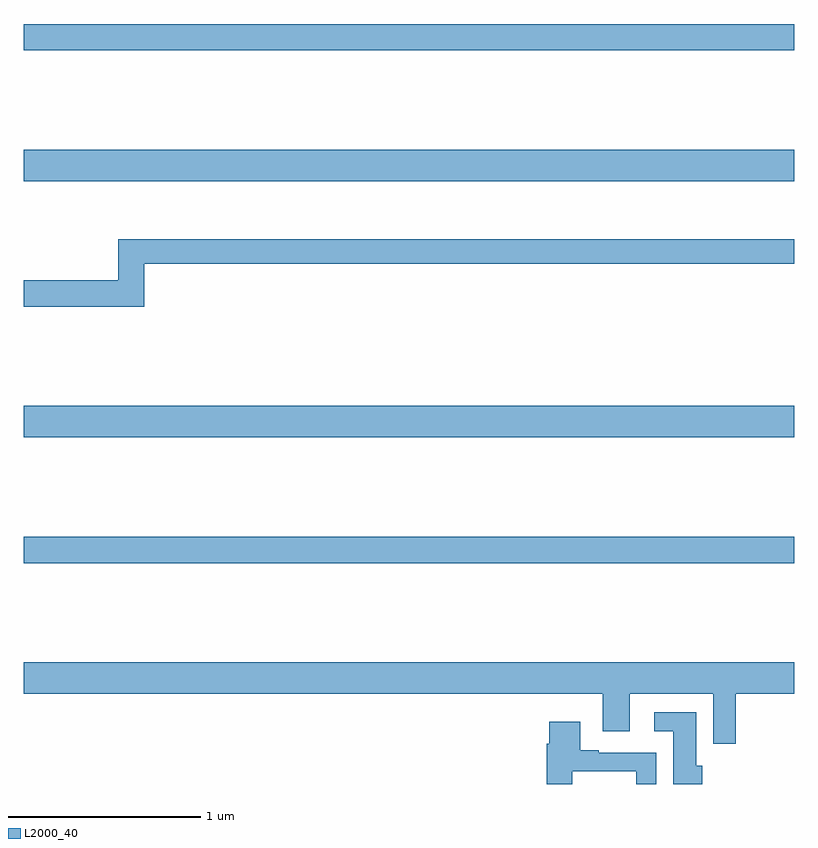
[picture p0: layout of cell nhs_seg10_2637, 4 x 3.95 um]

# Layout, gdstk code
import gdstk
lib = gdstk.Library(unit=1e-6, precision=1e-09)
def R(c, l, rs):  # rectangles x0, y0, x1, y1
    for r in rs: c.add(gdstk.rectangle(r[:2], r[2:], *l))
def P(c, l, *ps):  # polygons
    for p in ps: c.add(gdstk.Polygon(p, *l))
L2000_40 = (2000, 40)

nhs_seg10_2637 = lib.new_cell('nhs_seg10_2637')
R(nhs_seg10_2637, L2000_40, [(253,1315.648,257,1315.784), (253,1316.3,257,1316.464), (253,1317.632,257,1317.796), (253,1318.312,257,1318.448)])
P(nhs_seg10_2637, L2000_40, [(253.625,1317.202),(257,1317.202),(257,1317.331),(253.489,1317.331),(253.489,1317.116),(253,1317.116),(253,1316.98),(253.625,1316.98)],
  [(256.697,1314.968),(257,1314.968),(257,1315.132),(253,1315.132),(253,1314.968),(256.007,1314.968),(256.007,1314.774),(256.147,1314.774),(256.147,1314.968),(256.581,1314.968),(256.581,1314.708),(256.697,1314.708)],
  [(256.523,1314.594),(256.492,1314.594),(256.492,1314.874),(256.275,1314.874),(256.275,1314.773),(256.373,1314.773),(256.373,1314.5),(256.523,1314.5)],
  [(255.847,1314.567),(256.181,1314.567),(256.181,1314.5),(256.285,1314.5),(256.285,1314.663),(255.985,1314.663),(255.985,1314.676),(255.889,1314.676),(255.889,1314.823),(255.728,1314.823),(255.728,1314.71),(255.716,1314.71),(255.716,1314.5),(255.847,1314.5)])

lib.write_gds('nhs_seg10_2637.gds')
